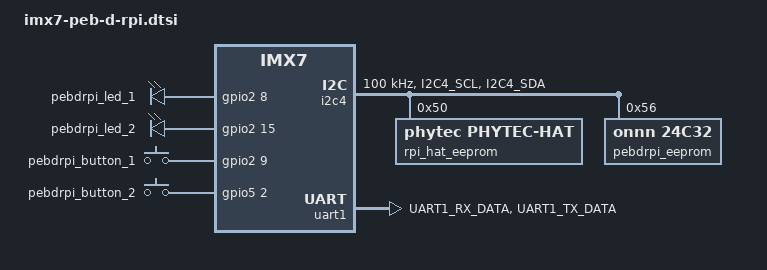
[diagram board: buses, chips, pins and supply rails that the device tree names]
/*
 * Copyright (C) 2018 PHYTEC America, LLC
 *
 * This program is free software; you can redistribute it and/or modify
 * it under the terms of the GNU General Public License version 2 as
 * published by the Free Software Foundation.
 */

/ {
	phytec_leds: leds {
		compatible = "gpio-leds";
		pinctrl-names = "default";
		pinctrl-0 = <&pinctrl_leds_pebdrpi>;
		status = "okay";

		led@0 {
			label = "pebdrpi_led_1";
			gpios = <&gpio2 8 GPIO_ACTIVE_HIGH>;
			linux,default-trigger = "gpio";
			default-state = "on";
		};

		led@1 {
			label = "pebdrpi_led_2";
			gpios = <&gpio2 15 GPIO_ACTIVE_HIGH>;
			linux,default-trigger = "gpio";
			default-state = "on";
		};

	};

	phytec_buttons: gpio-keys {
		compatible = "gpio-keys";
		pinctrl-names = "default";
		pinctrl-0 = <&pinctrl_btns_pebdrpi>;
		status = "okay";

		userbtn@0 {
			label = "pebdrpi_button_1";
			gpios = <&gpio2 9 GPIO_ACTIVE_HIGH>;
			linux,code = <0x100>;	/* BTN_MISC */
		};

		userbtn@1 {
			label = "pebdrpi_button_2";
			gpios = <&gpio5 2 GPIO_ACTIVE_HIGH>;
			linux,code = <0x100>;	/* BTN_MISC */
		};
	};
};

&iomuxc {
        imx7d-phycore {
		pinctrl_btns_pebdrpi: btns_pebdrpigrp {
			fsl,pins = <
				MX7D_PAD_EPDC_DATA09__GPIO2_IO9		0x79	/* Labeled UART6_TX on schematic */
				MX7D_PAD_SD1_RESET_B__GPIO5_IO2		0x79	/* Labeled EXP_CONN_MUX3 on schematic */
			>;

		};

		pinctrl_i2c4: i2c4grp {
			fsl,pins = <
				MX7D_PAD_I2C4_SCL__I2C4_SCL		0x4000007e
				MX7D_PAD_I2C4_SDA__I2C4_SDA		0x4000007e
			>;
		};

		pinctrl_leds_pebdrpi: leds_pebdrpigrp {
			fsl,pins = <
				MX7D_PAD_EPDC_DATA08__GPIO2_IO8		0x79	/* Labeled UART6_RX on schematic */
				MX7D_PAD_EPDC_DATA15__GPIO2_IO15	0x79	/* Labeled EXP_CONN_MUX5 on schematic */
			>;
		};

		pinctrl_pebdrpi: pebdrpigrp {
			fsl,pins = <
				MX7D_PAD_ECSPI2_MOSI__GPIO4_IO21	0x19
				MX7D_PAD_ECSPI2_SCLK__GPIO4_IO20	0x19
				MX7D_PAD_SD2_DATA1__GPIO5_IO15		0x19
				MX7D_PAD_ECSPI2_MISO__GPIO4_IO22	0x19
				MX7D_PAD_ECSPI2_SS0__GPIO4_IO23		0x19
				MX7D_PAD_GPIO1_IO15__GPIO1_IO15		0x19
				MX7D_PAD_GPIO1_IO14__GPIO1_IO14		0x19
				MX7D_PAD_SD2_RESET_B__GPIO5_IO11	0x19
				MX7D_PAD_SD2_DATA0__GPIO5_IO14		0x19
				MX7D_PAD_SD2_CMD__GPIO5_IO13		0x19
				MX7D_PAD_SD2_DATA2__GPIO5_IO16		0x19
				MX7D_PAD_SD2_DATA3__GPIO5_IO17		0x19
			>;
		};

		pinctrl_rabbitmaxflex: rabbitmaxflex {
			fsl,pins = <
				MX7D_PAD_SAI2_TX_BCLK__GPIO6_IO20	0x19
				MX7D_PAD_SAI2_TX_SYNC__GPIO6_IO19	0x19
				MX7D_PAD_SAI2_RX_DATA__GPIO6_IO21	0x79
			>;
		};

		pinctrl_sai2: sai2grp {
			fsl,pins = <
				MX7D_PAD_SD2_DATA0__SAI2_RX_DATA0	0x1f	/* Labeled X_SD2_DATA0 on schematic */
				MX7D_PAD_SD2_DATA1__SAI2_TX_BCLK	0x1f	/* Labeled X_SD2_DATA1 on schematic */
				MX7D_PAD_SD2_DATA2__SAI2_TX_SYNC	0x1f	/* Labeled X_SD2_DATA2 on schematic */
				MX7D_PAD_SD2_DATA3__SAI2_TX_DATA0	0x30	/* Labeled X_SD2_DATA3 on schematic */
			>;
		};

		/* grp should only be used if sai2 and ecspi3 are disabled */
		pinctrl_sai2_gpio: sai2_gpiogrp {
			fsl,pins = <
				MX7D_PAD_SAI2_TX_BCLK__GPIO6_IO20	0x19
				MX7D_PAD_SAI2_TX_SYNC__GPIO6_IO19	0x19
				MX7D_PAD_SAI2_RX_DATA__GPIO6_IO21	0x19
				MX7D_PAD_SAI2_TX_DATA__GPIO6_IO22	0x19
			>;
		};

		pinctrl_sense_hat: sense_hat {
			fsl,pins = <
				MX7D_PAD_GPIO1_IO15__GPIO1_IO15		0x79
			>;
		};

		pinctrl_ecspi1: ecspi1grp {
			fsl,pins = <
				MX7D_PAD_ECSPI1_MISO__ECSPI1_MISO	0x2
				MX7D_PAD_ECSPI1_MOSI__ECSPI1_MOSI	0x2
				MX7D_PAD_ECSPI1_SCLK__ECSPI1_SCLK	0x2
				MX7D_PAD_ECSPI1_SS0__ECSPI1_SS0		0x59
			>;
		};

		/* grp should only be used if ecspi1 is disabled */
		pinctrl_ecspi1_gpio: ecspi1_gpiogrp {
			fsl,pins = <
				MX7D_PAD_ECSPI1_MISO__GPIO4_IO18	0x19
				MX7D_PAD_ECSPI1_SS0__GPIO4_IO19		0x19
				MX7D_PAD_ECSPI1_SCLK__GPIO4_IO16	0x19
				MX7D_PAD_ECSPI1_MOSI__GPIO4_IO17	0x19
			>;
		};

		pinctrl_ecspi3: ecspi3grp {
			fsl,pins = <
				MX7D_PAD_SAI2_TX_SYNC__ECSPI3_MISO	0x2	/* Labeled X_SPI3_MISO on schematic */
				MX7D_PAD_SAI2_TX_BCLK__ECSPI3_MOSI	0x2	/* Labeled X_SPI3_MOSI on schematic */
				MX7D_PAD_SAI2_RX_DATA__ECSPI3_SCLK	0x2	/* Labeled X_SPI3_SCLK on schematic */
			>;
		};

		pinctrl_ecspi3_ss0: ecspi3_ss0grp {
			fsl,pins = <
				MX7D_PAD_SAI2_TX_DATA__GPIO6_IO22	0x59	/* Labeled X_SPI3_SS0 on schematic */
			>;
		};

		pinctrl_ecspi3_ss2: ecspi3_ss2grp {
			fsl,pins = <
				MX7D_PAD_SD2_CD_B__GPIO5_IO9		0x59	/* Labeled X_SD2_CD_B on schematic */
			>;
		};

		/* grp should only be used if spi3 is disabled */
		pinctrl_ecspi3_ss2_gpio: ecspi3_ss2_gpiogrp {
			fsl,pins = <
				MX7D_PAD_SD2_CD_B__GPIO5_IO9		0x19
			>;
		};

		pinctrl_uart1: uart1grp {
			fsl,pins = <
				MX7D_PAD_UART1_RX_DATA__UART1_DCE_RX	0x7e
				MX7D_PAD_UART1_TX_DATA__UART1_DCE_TX	0x7e
			>;
		};

		pinctrl_uart2: uart2grp {
			fsl,pins = <
				MX7D_PAD_UART2_RX_DATA__UART2_DCE_RX	0x7e
				MX7D_PAD_UART2_TX_DATA__UART2_DCE_TX	0x7e
			>;
		};

		pinctrl_uart3: uart3grp {
			fsl,pins = <
				MX7D_PAD_UART3_RX_DATA__UART3_DCE_RX	0x7e
				MX7D_PAD_UART3_TX_DATA__UART3_DCE_TX	0x7e
			>;
		};

		/* grp should only be used if uart3 is disabled */
		pinctrl_uart3_gpio: uart3_gpiogrp {
			fsl,pins = <
				MX7D_PAD_UART3_TX_DATA__GPIO4_IO5	0x19
				MX7D_PAD_UART3_RX_DATA__GPIO4_IO4	0x19
			>;
		};
	};
};

&iomuxc_lpsr {
	imx7d-phycore {
		pinctrl_pwm2: pwm2grp {
			fsl,pins = <
				MX7D_PAD_GPIO1_IO02__PWM2_OUT		0x30	/* Labeled X_PWM2 on schematic */
			>;
		};

		/* grp should only be used if pwm2 is disabled */
		pinctrl_pwm2_gpio: pwm2_gpiogrp {
			fsl,pins = <
				MX7D_PAD_GPIO1_IO02__GPIO1_IO2		0x19
			>;
		};
	};
};

&i2c4 {
	pinctrl-names = "default";
	pinctrl-0 = <&pinctrl_i2c4>;
	clock-frequency = <100000>;
	status = "okay";

	rpi_hat_eeprom: eeprom@50 {
		pinctrl-names = "default", "sense_hat", "rabbitmax_flex";
		pinctrl-0 = <&pinctrl_pebdrpi>;
		pinctrl-1 = <&pinctrl_sense_hat>;
		pinctrl-2 = <&pinctrl_pebdrpi &pinctrl_rabbitmaxflex
			     &pinctrl_pwm2_gpio &pinctrl_ecspi1_gpio>;
		compatible = "phytec,phytec-hat";
		reg = <0x50>;
		read-only;
		status = "okay";
	};

	pebdrpi_eeprom: eeprom@56 {
		compatible = "onnn,24c32";
		reg = <0x56>;
		pagesize = <32>;
		status = "okay";
	};
};

&pwm2 {
	pinctrl-names = "default";
	pinctrl-0 = <&pinctrl_pwm2>;
	status = "disabled";
};

&sai2 {
	pinctrl-names = "default";
	pinctrl-0 = <&pinctrl_sai2>;
	assigned-clocks = <&clks IMX7D_SAI2_ROOT_SRC>,
			  <&clks IMX7D_SAI2_ROOT_CLK>;
	assigned-clock-parents = <&clks IMX7D_PLL_AUDIO_POST_DIV>;
	assigned-clock-rates = <0>, <36864000>;
	status = "disabled";
};

&ecspi1 {
	pinctrl-names = "default";
	pinctrl-0 = <&pinctrl_ecspi1>;
	status = "disabled";
};

&ecspi3 {
	pinctrl-names = "default";
	pinctrl-0 = <&pinctrl_ecspi3 &pinctrl_ecspi3_ss0>;
	status = "disabled";
};

&uart1 {
	pinctrl-names = "default";
	pinctrl-0 = <&pinctrl_uart1>;
	assigned-clocks = <&clks IMX7D_UART1_ROOT_SRC>;
	assigned-clock-parents = <&clks IMX7D_PLL_SYS_MAIN_240M_CLK>;
	status = "okay";
};

&uart2 {
	pinctrl-names = "default";
	pinctrl-0 = <&pinctrl_uart2>;
	assigned-clocks = <&clks IMX7D_UART2_ROOT_SRC>;
	assigned-clock-parents = <&clks IMX7D_PLL_SYS_MAIN_240M_CLK>;
	status = "disabled";
};

&uart3 {
	pinctrl-names = "default";
	pinctrl-0 = <&pinctrl_uart3>;
	assigned-clocks = <&clks IMX7D_UART3_ROOT_SRC>;
	assigned-clock-parents = <&clks IMX7D_PLL_SYS_MAIN_240M_CLK>;
	status = "disabled";
};
